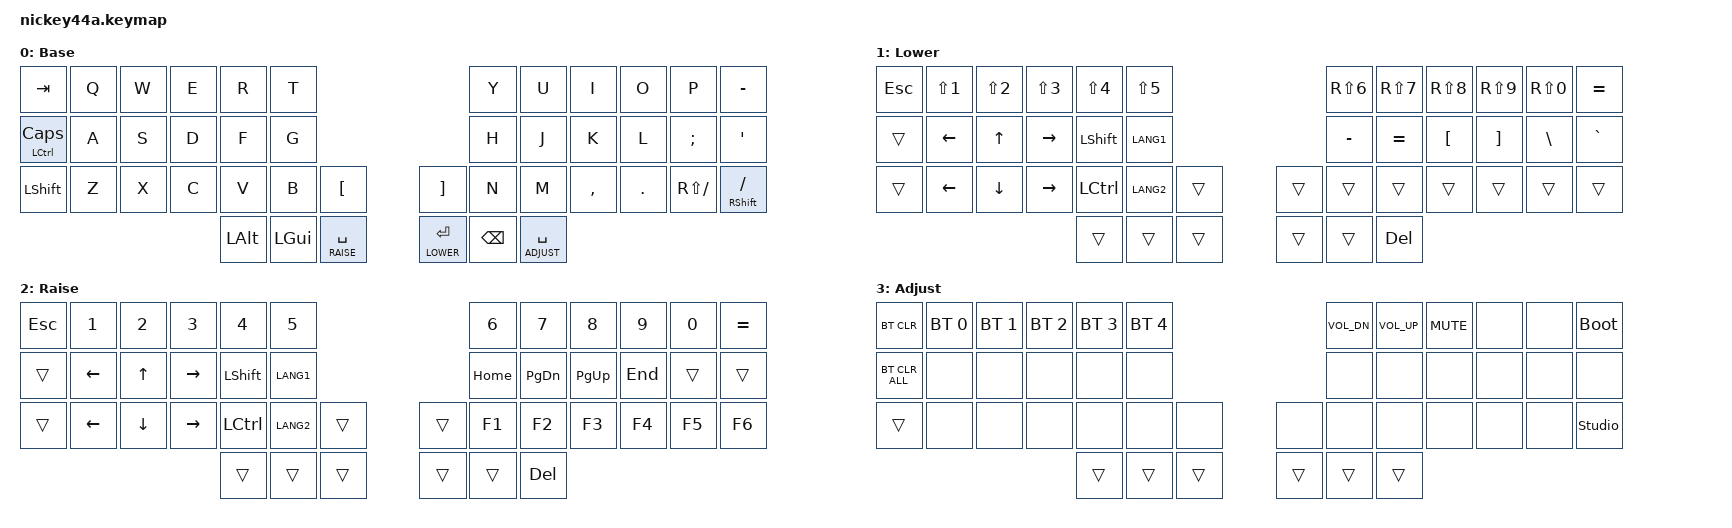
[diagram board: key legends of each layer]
/* DYA Studio / ZMK Studio で Mod-Tap・Layer-Tap など全ビヘイビアを使えるようにする */
#ifndef ZMK_BEHAVIORS_KEEP_ALL
#define ZMK_BEHAVIORS_KEEP_ALL
#endif

#include <behaviors.dtsi>
#include <dt-bindings/zmk/bt.h>
#include <dt-bindings/zmk/keys.h>

/* 俺風キーマップ（ZaruBall / cocot36 流儀） */
#define BASE   0
#define LOWER  1
#define RAISE  2
#define ADJUST 3

&mt {
    flavor = "balanced";
    quick-tap-ms = <0>;
};

&lt {
    quick-tap-ms = <300>;
    flavor = "balanced";
};

/ {
    /* コンボ（DYA Studio の「コンボ」タブから編集・追加できます） */
    runtime_combo_defaults {
        compatible = "cormoran,runtime-combo-defaults";

        combo_lbkt {
            key-positions = <32 33>;
            bindings = <&kp LBKT>;
            layers = <BASE>;
            display-name = "N+M [";
            timeout-ms = <50>;
        };

        combo_rbkt {
            key-positions = <34 35>;
            bindings = <&kp RBKT>;
            layers = <BASE>;
            display-name = ",+. ]";
            timeout-ms = <50>;
        };
    };

    macros {
        to_layer_0: to_layer_0 {
            compatible = "zmk,behavior-macro-one-param";
            #binding-cells = <1>;
            bindings = <&to 0 &macro_param_1to1 &kp MACRO_PLACEHOLDER>;
        };
    };

    behaviors {
        lt_to_layer_0: lt_to_layer_0 {
            compatible = "zmk,behavior-hold-tap";
            bindings = <&mo>, <&to_layer_0>;

            #binding-cells = <2>;
            tapping-term-ms = <200>;
        };
    };

    keymap {
        compatible = "zmk,keymap";

        /* 0: ベース
           左親指 = Alt / Cmd / Space(長押しRAISE)
           右親指 = Enter(長押しLOWER) / Backspace / Space(長押しADJUST) */
        default_layer {
            display-name = "Base";
            bindings = <
&kp TAB          &kp Q  &kp W  &kp E  &kp R  &kp T                              &kp Y  &kp U  &kp I      &kp O    &kp P         &kp MINUS
&mt LCTRL CAPS   &kp A  &kp S  &kp D  &kp F  &kp G                              &kp H  &kp J  &kp K      &kp L    &kp SEMI      &kp SQT
&kp LSHFT        &kp Z  &kp X  &kp C  &kp V  &kp B  &kp LBKT          &kp RBKT  &kp N  &kp M  &kp COMMA  &kp DOT  &kp RS(FSLH)  &mt RSHFT FSLH
                         &kp LALT  &kp LGUI  &lt RAISE SPACE          &lt LOWER RET  &kp BSPC  &lt ADJUST SPACE
            >;
        };

        /* 1: LOWER（Enter長押し）= シフト数字＋矢印＋かな/英数 */
        lower_layer {
            display-name = "Lower";
            bindings = <
&kp ESC  &kp LS(N1)  &kp LS(N2)  &kp LS(N3)  &kp LS(N4)  &kp LS(N5)                      &kp RS(N6)  &kp RS(N7)  &kp RS(N8)  &kp RS(N9)  &kp RS(N0)  &kp EQUAL
&trans   &kp LEFT    &kp UP      &kp RIGHT   &kp LSHFT   &kp LANG1                       &kp MINUS   &kp EQUAL   &kp LBKT    &kp RBKT    &kp BSLH    &kp GRAVE
&trans   &kp LEFT    &kp DOWN    &kp RIGHT   &kp LCTRL   &kp LANG2   &trans      &trans  &trans      &trans      &trans      &trans      &trans      &trans
                                             &trans      &trans      &trans      &trans  &trans      &kp DEL
            >;
        };

        /* 2: RAISE（Space長押し）= 数字＋矢印＋かな/英数＋F/ナビ */
        raise_layer {
            display-name = "Raise";
            bindings = <
&kp ESC  &kp N1    &kp N2    &kp N3     &kp N4     &kp N5                      &kp N6    &kp N7     &kp N8     &kp N9     &kp N0      &kp EQUAL
&trans   &kp LEFT  &kp UP    &kp RIGHT  &kp LSHFT  &kp LANG1                   &kp HOME  &kp PG_DN  &kp PG_UP  &kp END    &trans      &trans
&trans   &kp LEFT  &kp DOWN  &kp RIGHT  &kp LCTRL  &kp LANG2  &trans   &trans  &kp F1    &kp F2     &kp F3     &kp F4     &kp F5      &kp F6
                                        &trans     &trans     &trans   &trans  &trans    &kp DEL
            >;
        };

        /* 3: ADJUST（右親指Space長押し）= Bluetooth・音量 */
        adjust_layer {
            display-name = "Adjust";
            bindings = <
&bt BT_CLR      &bt BT_SEL 0  &bt BT_SEL 1  &bt BT_SEL 2  &bt BT_SEL 3  &bt BT_SEL 4                       &kp C_VOL_DN  &kp C_VOL_UP  &kp C_MUTE  &none  &none  &bootloader
&bt BT_CLR_ALL  &none         &none         &none         &none         &none                              &none         &none         &none       &none  &none  &none
&trans          &none         &none         &none         &none         &none         &none       &none    &none         &none         &none       &none  &none  &studio_unlock
                                                          &trans        &trans        &trans      &trans   &trans        &trans
            >;
        };

        /* DYA Studioでレイヤーを追加するための予備 */
        extra1 { status = "reserved"; };
        extra2 { status = "reserved"; };
    };
};
